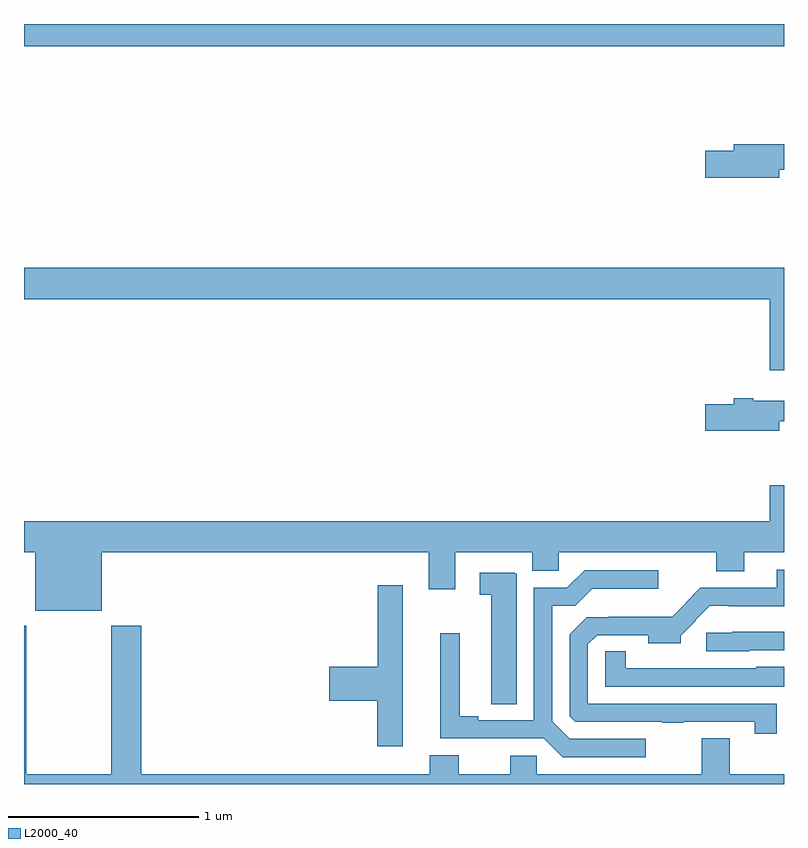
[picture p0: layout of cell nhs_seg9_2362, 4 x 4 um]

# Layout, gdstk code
import gdstk
lib = gdstk.Library(unit=1e-6, precision=1e-09)
def R(c, l, rs):  # rectangles x0, y0, x1, y1
    for r in rs: c.add(gdstk.rectangle(r[:2], r[2:], *l))
def P(c, l, *ps):  # polygons
    for p in ps: c.add(gdstk.Polygon(p, *l))
L2000_40 = (2000, 40)

nhs_seg9_2362 = lib.new_cell('nhs_seg9_2362')
R(nhs_seg9_2362, L2000_40, [(245,1232.384,249,1232.5)])
P(nhs_seg9_2362, L2000_40, [(248.974,1231.732),(249,1231.732),(249,1231.868),(248.735,1231.868),(248.735,1231.832),(248.586,1231.832),(248.586,1231.69),(248.974,1231.69)],
  [(249,1231.216),(245,1231.216),(245,1231.052),(248.924,1231.052),(248.924,1230.678),(249,1230.678)],
  [(248.974,1230.408),(249,1230.408),(249,1230.517),(248.839,1230.517),(248.839,1230.53),(248.735,1230.53),(248.735,1230.5),(248.586,1230.5),(248.586,1230.358),(248.974,1230.358)],
  [(245.41,1229.72),(247.13,1229.72),(247.13,1229.526),(247.27,1229.526),(247.27,1229.72),(247.676,1229.72),(247.676,1229.622),(247.815,1229.622),(247.815,1229.72),(248.644,1229.72),(248.644,1229.621),(248.791,1229.621),(248.791,1229.72),(249,1229.72),(249,1230.073),(248.924,1230.073),(248.924,1229.884),(245,1229.884),(245,1229.72),(245.06,1229.72),(245.06,1229.411),(245.41,1229.411)],
  [(248.963,1228.923),(247.968,1228.923),(247.968,1229.235),(248.016,1229.283),(248.285,1229.283),(248.285,1229.24),(248.456,1229.24),(248.456,1229.28),(248.535,1229.358),(248.532,1229.361),(248.609,1229.438),(248.71,1229.438),(248.71,1229.435),(249,1229.435),(249,1229.628),(248.963,1229.628),(248.963,1229.532),(248.559,1229.532),(248.483,1229.455),(248.485,1229.453),(248.411,1229.38),(248.077,1229.38),(248.077,1229.378),(247.961,1229.378),(247.872,1229.289),(247.872,1228.857),(247.902,1228.827),(248.359,1228.827),(248.359,1228.822),(248.471,1228.822),(248.471,1228.827),(248.845,1228.827),(248.845,1228.764),(248.963,1228.764)],
  [(248.272,1228.737),(247.872,1228.737),(247.779,1228.83),(247.779,1229.437),(247.9,1229.437),(247.991,1229.528),(248.338,1229.528),(248.338,1229.625),(247.95,1229.625),(247.857,1229.532),(247.683,1229.532),(247.683,1228.836),(247.39,1228.836),(247.39,1228.856),(247.294,1228.856),(247.294,1229.293),(247.19,1229.293),(247.19,1228.74),(247.736,1228.74),(247.835,1228.641),(248.272,1228.641)],
  [(247.594,1229.603),(247.584,1229.613),(247.398,1229.613),(247.398,1229.497),(247.46,1229.497),(247.46,1228.921),(247.594,1228.921)],
  [(246.994,1229.545),(246.863,1229.545),(246.863,1229.117),(246.606,1229.117),(246.606,1228.939),(246.86,1228.939),(246.86,1228.698),(246.994,1228.698)],
  [(248.817,1229.205),(249,1229.205),(249,1229.302),(248.727,1229.302),(248.727,1229.295),(248.592,1229.295),(248.592,1229.199),(248.817,1229.199)],
  [(249,1229.116),(248.853,1229.116),(248.853,1229.109),(248.421,1229.109),(248.421,1229.11),(248.167,1229.11),(248.167,1229.198),(248.058,1229.198),(248.058,1229.013),(249,1229.013)],
  [(248.715,1228.742),(248.567,1228.742),(248.567,1228.552),(247.698,1228.552),(247.698,1228.65),(247.559,1228.65),(247.559,1228.552),(247.288,1228.552),(247.288,1228.651),(247.136,1228.651),(247.136,1228.552),(245.618,1228.552),(245.618,1229.332),(245.458,1229.332),(245.458,1228.552),(245.013,1228.552),(245.013,1229.332),(245,1229.332),(245,1228.5),(249,1228.5),(249,1228.552),(248.715,1228.552)])

lib.write_gds('nhs_seg9_2362.gds')
